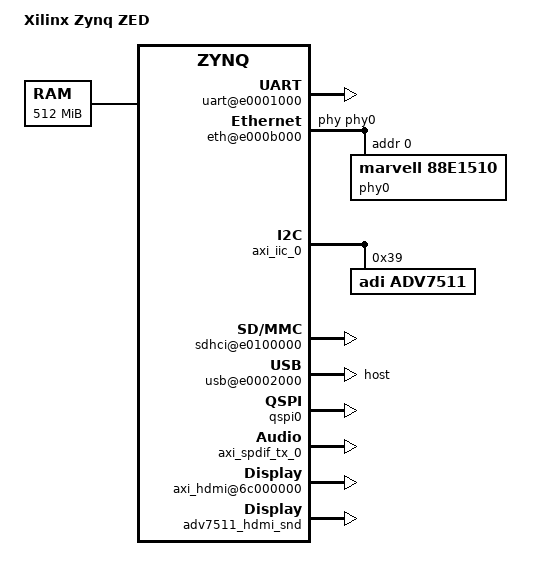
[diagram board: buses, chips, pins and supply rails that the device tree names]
/dts-v1/;

/ {
	model = "Xilinx Zynq ZED";
	compatible = "xlnx,zynq-zc702";
	#address-cells = <0x1>;
	#size-cells = <0x1>;
	interrupt-parent = <0x1>;

	memory {
		device_type = "memory";
		reg = <0x000000000 0x20000000>;
	};
	chosen {
//		bootargs = "console=ttyPS0,115200 root=/dev/ram rw initrd=0x1100000,33M ip=:::::eth0:dhcp earlyprintk";
		bootargs = "console=ttyPS0,115200 root=/dev/mmcblk0p2 rw earlyprintk rootfstype=ext4 rootwait devtmpfs.mount=0";
		linux,stdout-path = "/amba@0/uart@E0001000";
	};

	amba@0 {
		compatible = "simple-bus";
		#address-cells = <0x1>;
		#size-cells = <0x1>;
		ranges;

		gic: intc@f8f01000 {
			interrupt-controller;
			compatible = "arm,cortex-a9-gic";
			#interrupt-cells = <3>;
			reg = < 0xf8f01000 0x1000 >,
			      < 0xf8f00100 0x0100 >;
		};

		uart@e0001000 {
			compatible = "xlnx,ps7-uart-1.00.a";
			reg = <0xe0001000 0x1000>;
			interrupts = < 0 50 0 >;
			interrupt-parent = <&gic>;
			clock = <50000000>;
		};

		timer@0xf8001000 {
			compatible = "xlnx,ps7-ttc-1.00.a";
			reg = <0xf8001000 0x1000>;
			interrupts = <0 10 0>,<0 11 0>,<0 12 0>;
			interrupt-parent = <&gic>;
/*			clock-frequency = <111111111>;*/
			clock-frequency-timer0 = <111111111>;
			clock-frequency-timer1 = <111111111>;
			clock-frequency-timer2 = <111111111>;
		};

		swdt@f8005000 {
			device_type = "watchdog";
			compatible = "xlnx,ps7-wdt-1.00.a";
			reg = <0xf8005000 0x100>;
		};

		eth@e000b000 {
			compatible = "xlnx,ps7-ethernet-1.00.a";
			reg = <0xe000b000 0x1000>;
			interrupts = <0 22 0>;
			interrupt-parent = <&gic>;
			phy-handle = <&phy0>;
			#address-cells = <0x1>;
			#size-cells = <0x0>;

			phy0: phy@0 {
				compatible = "marvell,88e1510";
				device_type = "ethernet-phy";
				reg = <0x0>;
				marvell,reg-init=<3 16 0xff00 0x1e 3 17 0xfff0 0x0a>;
			};
		};

		gpio: gpio@e000a000 {
			compatible = "xlnx,ps7-gpio-1.00.a";
			reg = <0xe000a000 0x1000>;
			interrupts = <0 20 0>;
			interrupt-parent = <&gic>;
			gpio-controller;
			#gpio-cells = <2>;
		};

		axi_iic_0: i2c@41600000 {
			compatible = "xlnx,axi-iic-1.01.b", "xlnx,xps-iic-2.00.a";
			interrupt-parent = <&gic>;
			interrupts = < 0 56 0x4 >;
			reg = < 0x41600000 0x10000 >;

			#size-cells = <0>;
			#address-cells = <1>;

			adv7511: adv7511@39 {
				compatible = "adi,adv7511";
				reg = <0x39>;

				adi,input-style = <0x02>;
				adi,input-id = <0x01>;
				adi,input-color-depth = <0x3>;
				adi,sync-pulse = <0x03>;
				adi,bit-justification = <0x01>;
				adi,up-conversion = <0x00>;
				adi,timing-generation-sequence = <0x00>;
				adi,vsync-polarity = <0x02>;
				adi,hsync-polarity = <0x02>;
				adi,tdms-clock-inversion;
				adi,clock-delay = <0x03>;
			};
		};

		sdhci@e0100000 {
			compatible = "xlnx,ps7-sdhci-1.00.a";
			reg = <0xe0100000 0x1000>;
			interrupts = <0 24 0>;
			interrupt-parent = <&gic>;
			clock-frequency = <50000000>;
		};

		usb@e0002000 {
			compatible = "xlnx,ps7-usb-1.00.a";
			reg = <0xe0002000 0x1000>;
			interrupts = <0 21 0>;
			interrupt-parent = <&gic>;
			dr_mode = "host";
			phy_type = "ulpi";
		};

		qspi0: spi@e000d000 {
			compatible = "xlnx,ps7-qspi-1.00.a";
			reg = <0xE000D000 0x1000>;
			interrupts = <0 19 0>;
			interrupt-parent = <&gic>;
			speed-hz = <200000000>;
			bus-num = <1>;
			num-chip-select = <1>;
			is-dual = <0>;
		};

		devcfg@f8007000 {
			compatible = "xlnx,ps7-dev-cfg-1.00.a";
			reg = <0xf8007000 0x1000>;
			interrupts = <0 8 0>;
			interrupt-parent = <&gic>;
		};

		axi_dma_0: axidma@40400000 {
			#address-cells = <1>;
			#size-cells = <1>;
			#dma-cells = <1>;
			compatible = "xlnx,axi-dma";
			reg = < 0x40400000 0x1000 >;
			xlnx,sg-include-stscntrl-strm = <0x0>;
			dma-channel@40400000 {
				compatible = "xlnx,axi-dma-mm2s-channel";
				interrupts = < 0 58 0x4 >;
				xlnx,datawidth = <0x20>;
				xlnx,include-dre = <0x0>;
			};
		};

		axi_spdif_tx_0: axi-spdif-tx@0x75c00000 {
			compatible = "adi,axi-spdif-tx-1.00.a";
			reg = < 0x75c00000 0x1000 >;
			clock-frequency = <12288000>;
		};

		axi_vdma_0: axivdma@43000000 {
			#address-cells = <1>;
			#size-cells = <1>;
			#dma-cells = <1>;
			compatible = "xlnx,axi-vdma";
			reg = <0x43000000 0x1000>;
			xlnx,include-sg = <0x0>;
			xlnx,num-fstores = <0x3>;
			dma-channel@7e200000 {
				compatible = "xlnx,axi-vdma-mm2s-channel";
				interrupts = <0 59 0x4>;
				xlnx,datawidth = <0x40>;
				xlnx,genlock-mode = <0x0>;
				xlnx,include-dre = <0x0>;
			};
		};

		fpga_clock: fpga_clock {
			compatible = "fixed-clock";
			#clock-cells = <0>;
			clock-frequency  = <200000000>;
		};

		hdmi_clock: axi-clkgen@66000000 {
			compatible = "adi,axi-clkgen-1.00.a";
			reg = <0x66000000 0x10000>;
			#clock-cells = <0>;
			clocks = <&fpga_clock>;
		};

		axi_hdmi@6c000000 {
			compatible = "adi,axi-hdmi-1.00.a";
			reg = <0x6c000000 0x10000>;
			encoder-slave = <&adv7511>;
			dma-request = <&axi_vdma_0 0>;
			clocks = <&hdmi_clock>;
		};

		xilinx_pcm_audio: xilinx_pcm_audio {
			compatible = "xilinx-pcm-audio";
			dma-request = <&axi_dma_0 0>;
		};

		adv7511_hdmi_snd: adv7511_hdmi_snd {
			compatible = "adv7511-hdmi-snd";
//			audio-codec = <&>;
			cpu-dai = <&axi_spdif_tx_0>;
			pcm = <&xilinx_pcm_audio>;
		};
	};
};
